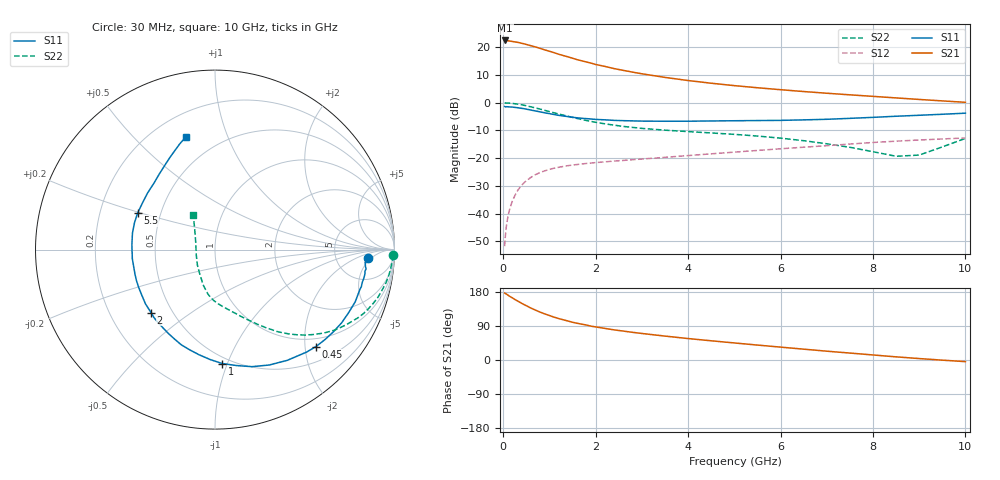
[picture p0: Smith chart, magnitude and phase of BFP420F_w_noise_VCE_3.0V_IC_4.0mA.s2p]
! Infineon Technologies  Discrete & RF Semiconductors
! BFP420F
! VCE =  3.0 V,  IC =  4.0 mA
! Common Emitter S-Parameters:  Sep 2011
# GHz  S  MA  R  50
!  f  S11  S21  S12  S22
! GHz  MAG  ANG  MAG  ANG  MAG  ANG  MAG  ANG
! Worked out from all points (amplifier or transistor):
!   54 points, 30 MHz to 10 GHz, reference 50 ohm
!   highest |S21| = 22.4 dB at 40 MHz (marker M1)
!   |S21| within 3 dB of that: start of sweep to 825.2 MHz
!   unconditionally stable (mu >= 1): 2.73 GHz to end of sweep
!   at 120 MHz: K = 0.09, MSG = 31.0 dB, |S12| = -39.7 dB
!   at 1.3 GHz: K = 0.47, MSG = 20.0 dB, |S12| = -23.0 dB
!   at 10 GHz: K = 1.41, MAG = 2.6 dB, |S12| = -12.7 dB
!   lowest NFmin = 0.90 dB at 450 MHz
!   S11 on the Smith chart (normalised r, x): 30 MHz: 11, -4; 450 MHz: 0.81, -2.23; 1 GHz: 0.45, -0.96; 2 GHz: 0.38, -0.36; 5.5 GHz: 0.37, +0.20; 10 GHz: 0.33, +0.72
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0.03  0.855 -3.2  13.21 176.8  0.0026 84.0  0.9909 -1.8
0.04  0.8488 -4.1  13.23 176.0  0.0034 85.6  0.9901 -2.2
0.12  0.841 -12.3  13.07 169.5  0.0104 82.8  0.9831 -6.7
0.25  0.8234 -25.2  12.47 159.9  0.021 77.4  0.9574 -13.7
0.35  0.8028 -34.9  12.05 153.0  0.029 73.0  0.931 -18.8
0.45  0.7797 -43.9  11.52 146.3  0.036 68.7  0.8993 -23.5
0.6  0.7367 -56.9  10.63 137.0  0.0452 62.9  0.8416 -29.9
0.7  0.7102 -64.9  10.1 131.5  0.0507 59.6  0.8051 -33.8
0.8  0.6838 -72.5  9.516 126.2  0.0553 56.6  0.766 -37.3
1  0.6359 -86.4  8.452 117.3  0.0629 51.6  0.692 -43.5
1.2  0.5926 -98.6  7.473 109.3  0.0687 47.7  0.6258 -48.7
1.3  0.5762 -104.1  7.071 106.1  0.0711 46.2  0.597 -50.9
1.5  0.5463 -114.6  6.33 99.5  0.0753 43.6  0.5434 -54.9
1.7  0.5237 -123.5  5.682 94.5  0.0787 41.8  0.4976 -58.6
2  0.5 -135.4  4.887 87.3  0.0833 39.9  0.4438 -63.7
2.6  0.4747 -153.5  3.822 76.3  0.0912 38.2  0.3738 -72.1
3.5  0.4634 -173.7  2.857 63.1  0.1037 37.5  0.3201 -82.3
4.5  0.469 168.7  2.244 50.7  0.1199 36.9  0.285 -91.1
5.5  0.4769 154.5  1.86 39.4  0.138 35.5  0.2508 -99.0
7  0.5026 132.6  1.481 23.3  0.1682 31.8  0.1819 -114.5
8.5  0.5703 116.3  1.22 8.3  0.2027 25.3  0.1083 -164.8
10  0.6474 104.7  1.017 -4.3  0.2317 17.8  0.2275 122.2
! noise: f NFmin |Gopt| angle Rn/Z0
0.45  0.9  0.29  15  0.18
0.9  0.93  0.3  37  0.18
1.9  1.14  0.23  96  0.14
2.4  1.24  0.24  105  0.15
3.5  1.56  0.28  144  0.16
